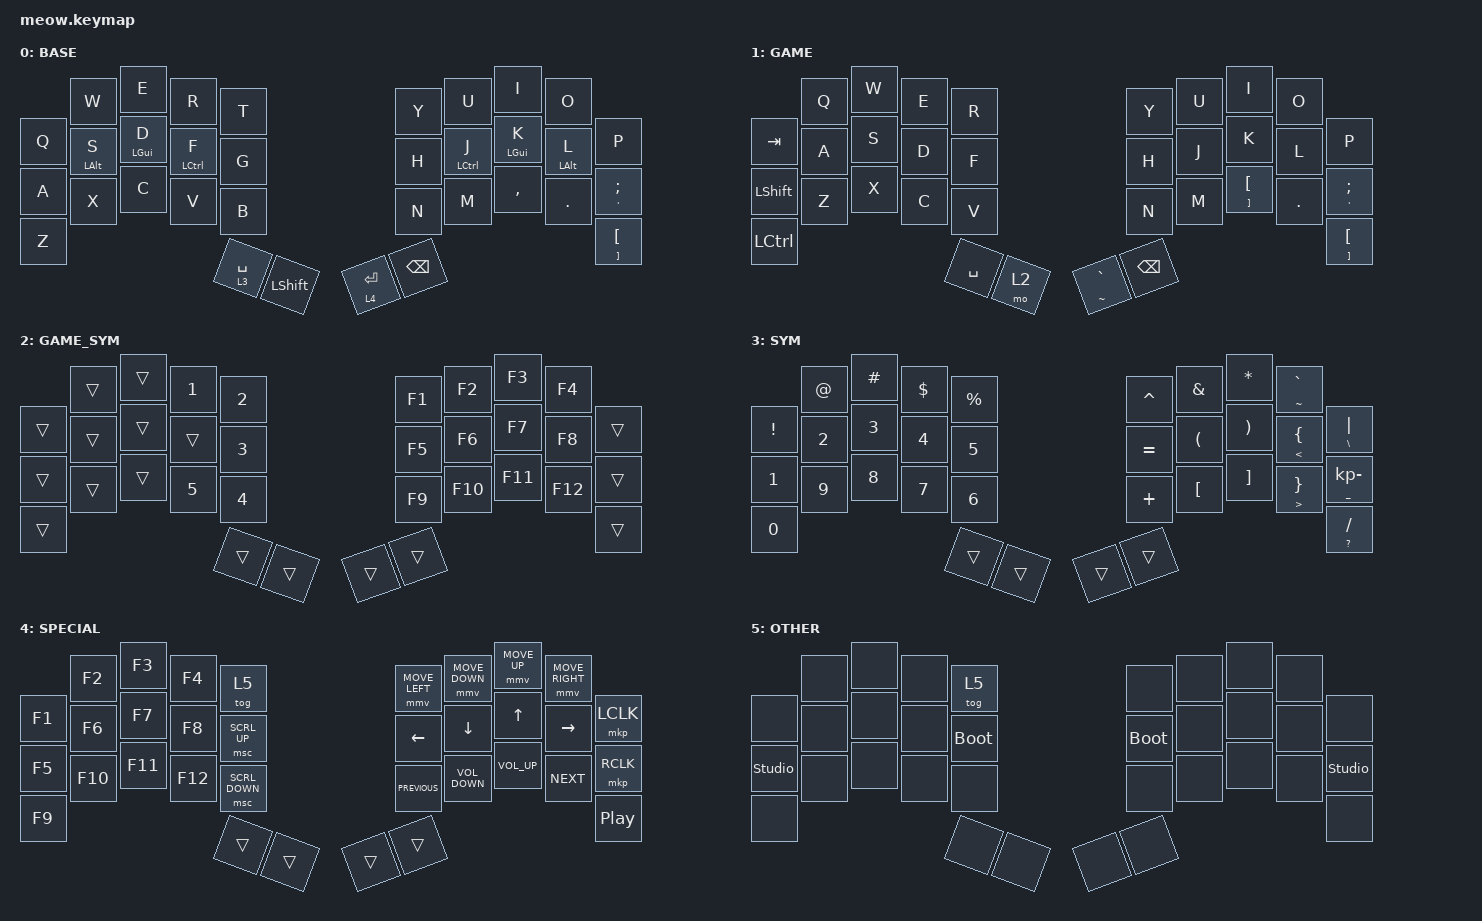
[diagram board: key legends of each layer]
#include <behaviors.dtsi>
#include <dt-bindings/zmk/keys.h>
#include <dt-bindings/zmk/pointing.h>

&lt {
    flavor = "balanced";
    quick-tap-ms = <175>;
};

/ {
    behaviors {
        hm_l: homerow_mods_left {
            compatible = "zmk,behavior-hold-tap";
            label = "Homerow_Mods_Left";
            bindings = <&kp>, <&kp>;

            #binding-cells = <2>;
            tapping-term-ms = <280>;
            require-prior-idle-ms = <150>;
            flavor = "tap-preferred";
            hold-trigger-on-release;
            quick-tap-ms = <175>;
            hold-trigger-key-positions = <5 6 7 8 9 15 16 17 18 19 25 26 27 28 29 32 33>;
        };

        ht: my_hold_tap {
            compatible = "zmk,behavior-hold-tap";
            label = "My_Hold_Tap";
            bindings = <&kp>, <&kp>;

            #binding-cells = <2>;
            tapping-term-ms = <150>;
            require-prior-idle-ms = <130>;
            flavor = "tap-preferred";
        };

        hm_r: homerow_mods_right {
            compatible = "zmk,behavior-hold-tap";
            label = "Homerow_Mods_Right";
            bindings = <&kp>, <&kp>;

            #binding-cells = <2>;
            tapping-term-ms = <280>;
            require-prior-idle-ms = <150>;
            flavor = "tap-preferred";
            hold-trigger-on-release;
            quick-tap-ms = <175>;
            hold-trigger-key-positions = <0 1 2 3 4 10 11 12 13 14 20 21 22 23 24 30 31>;
        };

        l2: l2 {
            compatible = "zmk,behavior-hold-tap";
            label = "L2";
            bindings = <&mo>, <&kp>;

            #binding-cells = <2>;
            tapping-term-ms = <200>;
            flavor = "balanced";
            quick-tap-ms = <175>;
        };
    };

    combos {
        compatible = "zmk,combos";

        esc {
            bindings = <&kp ESC>;
            key-positions = <1 0>;
            layers = <0 1>;
            require-prior-idle-ms = <100>;
        };

        tab {
            bindings = <&kp TAB>;
            key-positions = <6 5>;
            layers = <0>;
            require-prior-idle-ms = <100>;
        };

        game_m {
            bindings = <&kp M>;
            key-positions = <4 14>;
            layers = <1>;
        };

        game_g {
            bindings = <&kp G>;
            key-positions = <4 9>;
            layers = <1>;
        };

        game_b {
            bindings = <&kp B>;
            key-positions = <14 9>;
            layers = <1>;
        };

        gaming {
            bindings = <&tog 1>;
            key-positions = <16 33>;
            layers = <0 1>;
        };

        delete {
            bindings = <&kp DELETE>;
            key-positions = <33 32>;
            layers = <0>;
        };
    };

    keymap {
        compatible = "zmk,keymap";

        BASE {
            bindings = <
&kp Q                           &kp W             &kp E             &kp R                 &kp T
&kp A                           &hm_l LEFT_ALT S  &hm_l LEFT_GUI D  &hm_l LEFT_CONTROL F  &kp G
&kp Z                           &kp X             &kp C             &kp V                 &kp B
                                                                                          &l2 3 SPACE  &kp LEFT_SHIFT
&kp P                           &kp O             &kp I             &kp U                 &kp Y
&ht SQT SEMICOLON               &hm_r LEFT_ALT L  &hm_r LEFT_GUI K  &hm_r LEFT_CONTROL J  &kp H
&ht RIGHT_BRACKET LEFT_BRACKET  &kp PERIOD        &kp COMMA         &kp M                 &kp N
                                                                                          &kp BACKSPACE &lt 4 ENTER 
            >;
        };

        GAME {
            bindings = <
&kp TAB                         &kp Q       &kp W                           &kp E  &kp R
&kp LEFT_SHIFT                  &kp A       &kp S                           &kp D  &kp F
&kp LEFT_CONTROL                &kp Z       &kp X                           &kp C  &kp V
                                                                                   &kp SPACE      &mo 2
&kp P                           &kp O       &kp I                           &kp U  &kp Y
&ht SQT SEMICOLON               &kp L       &kp K                           &kp J  &kp H
&ht RIGHT_BRACKET LEFT_BRACKET  &kp PERIOD  &ht RIGHT_BRACKET LEFT_BRACKET  &kp M  &kp N
                                                                                   &kp BACKSPACE  &ht TILDE GRAVE
            >;
        };

        GAME_SYM {
            bindings = <
&trans  &trans   &trans   &kp NUMBER_1  &kp NUMBER_2
&trans  &trans   &trans   &trans        &kp NUMBER_3
&trans  &trans   &trans   &kp NUMBER_5  &kp NUMBER_4
                                        &trans        &trans
&trans  &kp F4   &kp F3   &kp F2        &kp F1
&trans  &kp F8   &kp F7   &kp F6        &kp F5
&trans  &kp F12  &kp F11  &kp F10       &kp F9
                                        &trans        &trans
            >;
        };

        SYM {
            bindings = <
&kp EXCLAMATION          &kp AT_SIGN                   &kp HASH               &kp DOLLAR            &kp PERCENT
&kp NUMBER_1             &kp NUMBER_2                  &kp NUMBER_3           &kp NUMBER_4          &kp NUMBER_5
&kp NUMBER_0             &kp NUMBER_9                  &kp NUMBER_8           &kp NUMBER_7          &kp NUMBER_6
                                                                                                    &trans        &trans
&ht BACKSLASH PIPE       &ht TILDE GRAVE               &kp ASTERISK           &kp AMPERSAND         &kp CARET
&ht UNDERSCORE KP_MINUS  &ht LESS_THAN LEFT_BRACE      &kp RIGHT_PARENTHESIS  &kp LEFT_PARENTHESIS  &kp EQUAL
&ht QMARK FSLH           &ht GREATER_THAN RIGHT_BRACE  &kp RIGHT_BRACKET      &kp LEFT_BRACKET      &kp PLUS
                                                                                                    &trans        &trans
            >;
        };

        SPECIAL {
            bindings = <
&kp F1            &kp F2           &kp F3           &kp F4             &tog 5
&kp F5            &kp F6           &kp F7           &kp F8             &msc SCRL_UP
&kp F9            &kp F10          &kp F11          &kp F12            &msc SCRL_DOWN
                                                                       &trans          &trans
&mkp LCLK         &mmv MOVE_RIGHT  &mmv MOVE_UP     &mmv MOVE_DOWN     &mmv MOVE_LEFT
&mkp RCLK         &kp RIGHT_ARROW  &kp UP_ARROW     &kp DOWN_ARROW     &kp LEFT_ARROW
&kp C_PLAY_PAUSE  &kp C_NEXT       &kp C_VOLUME_UP  &kp C_VOLUME_DOWN  &kp C_PREVIOUS
                                                                       &trans          &trans
            >;
        };

        OTHER {
            bindings = <
&none           &none  &none  &none  &tog 5
&studio_unlock  &none  &none  &none  &bootloader
&none           &none  &none  &none  &none
                                     &none        &none
&none           &none  &none  &none  &none
&studio_unlock  &none  &none  &none  &bootloader
&none           &none  &none  &none  &none
                                     &none        &none
            >;
        };
    };
};
